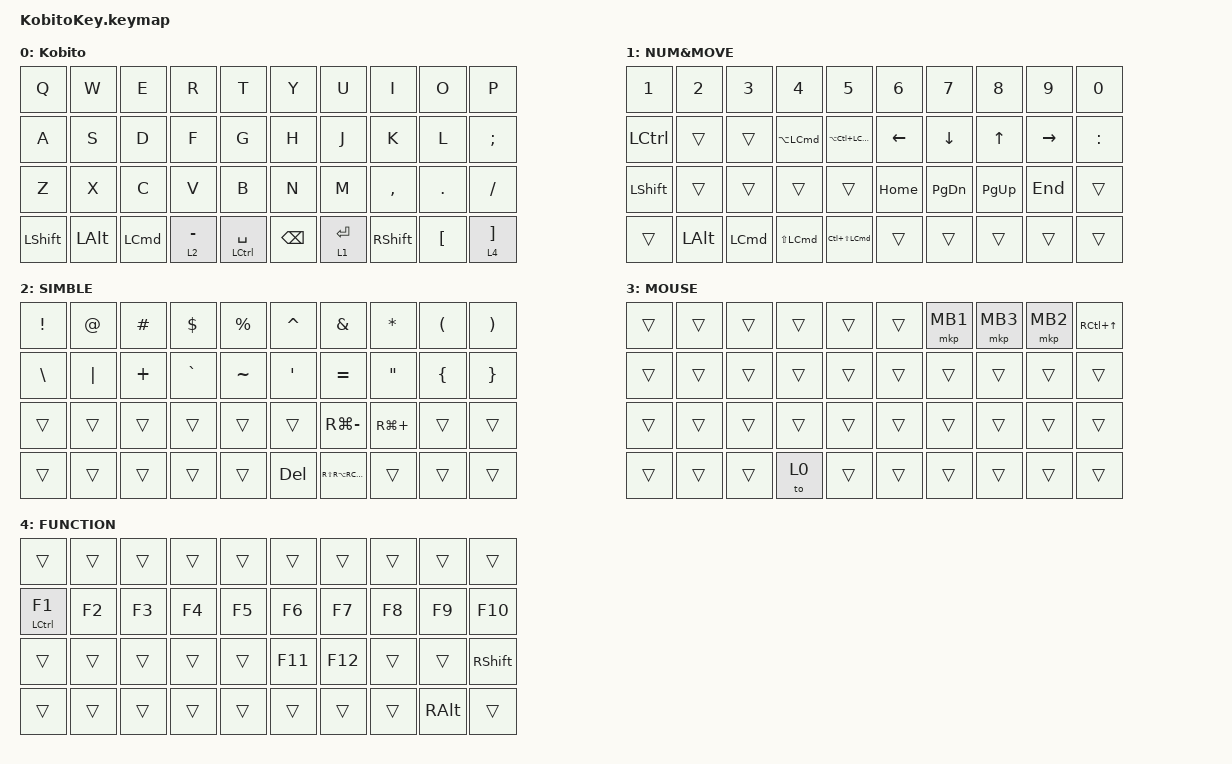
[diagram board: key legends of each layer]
#include <input/processors.dtsi>
#include <behaviors.dtsi>
#include <dt-bindings/zmk/keys.h>
#include <dt-bindings/zmk/pointing.h>

/ {
    behaviors {
        esc_lang2: behavior_macro {
            compatible = "zmk,behavior-macro";
            label = "ESC_LANG2";
            #binding-cells = <0>;
            bindings = <&kp ESC &kp LANG2>;
        };
    };

    combos {
        compatible = "zmk,combos";

        combo_eisu {
            timeout-ms = <50>;
            key-positions = <12 13>;
            bindings = <&kp LANG2>;
        };

        combo_kana {
            timeout-ms = <50>;
            key-positions = <16 17>;
            bindings = <&kp LANG1>;
        };

        combo_esc {
            timeout-ms = <50>;
            key-positions = <0 1>;
            bindings = <&esc_lang2>;
        };

        combo_tab {
            timeout-ms = <50>;
            key-positions = <10 11>;
            bindings = <&kp TAB>;
        };

        combo_raycast {
            bindings = <&kp LG(SPACE)>;
            key-positions = <33 36>;
            timeout-ms = <50>;
        };

        combo_aqua {
            bindings = <&kp LS(LA(LC(LEFT_GUI)))>;
            key-positions = <25 26>;
        };

        combo_hyper {
            bindings = <&kp RS(RA(RC(RIGHT_GUI)))>;
            key-positions = <15 16>;
        };

        combo_comctl {
            bindings = <&kp RC(RIGHT_GUI)>;
            key-positions = <5 6>;
        };
    };

    macros {
    };

    keymap {
        compatible = "zmk,keymap";

        default_layer {
            label = "Kobito";
            bindings = <
&kp Q           &kp W     &kp E     &kp R        &kp T                   &kp Y          &kp U        &kp I            &kp O             &kp P
&kp A           &kp S     &kp D     &kp F        &kp G                   &kp H          &kp J        &kp K            &kp L             &kp SEMICOLON
&kp Z           &kp X     &kp C     &kp V        &kp B                   &kp N          &kp M        &kp COMMA        &kp DOT           &kp SLASH
&kp LEFT_SHIFT  &kp LALT  &kp LCMD  &lt 2 MINUS  &mt LEFT_CONTROL SPACE  &kp BACKSPACE  &lt 1 ENTER  &kp RIGHT_SHIFT  &kp LEFT_BRACKET  &lt 4 RIGHT_BRACKET
            >;
        };

        layer1 {
            label = "NUM&MOVE";
            bindings = <
&kp NUMBER_1      &kp NUMBER_2  &kp NUMBER_3  &kp NUMBER_4  &kp NUMBER_5      &kp NUMBER_6  &kp NUMBER_7    &kp NUMBER_8  &kp NUMBER_9  &kp NUMBER_0
&kp LEFT_CONTROL  &trans        &trans        &kp LA(LCMD)  &kp LA(LC(LCMD))  &kp LEFT      &kp DOWN_ARROW  &kp UP_ARROW  &kp RIGHT     &kp COLON
&kp LEFT_SHIFT    &trans        &trans        &trans        &trans            &kp HOME      &kp PAGE_DOWN   &kp PAGE_UP   &kp END       &trans
&trans            &kp LALT      &kp LCMD      &kp LS(LCMD)  &kp LC(LS(LCMD))  &trans        &trans          &trans        &trans        &trans
            >;
        };

        layer2 {
            label = "SIMBLE";
            bindings = <
&kp EXCLAMATION  &kp AT    &kp POUND  &kp DOLLAR  &kp PERCENT  &kp CARET       &kp AMPERSAND                  &kp ASTRK          &kp LEFT_PARENTHESIS  &kp RIGHT_PARENTHESIS
&kp BACKSLASH    &kp PIPE  &kp PLUS   &kp GRAVE   &kp TILDE    &kp APOSTROPHE  &kp EQUAL                      &kp DOUBLE_QUOTES  &kp LEFT_BRACE        &kp RIGHT_BRACE
&trans           &trans    &trans     &trans      &trans       &trans          &kp RG(MINUS)                  &kp RG(PLUS)       &trans                &trans
&trans           &trans    &trans     &trans      &trans       &kp DELETE      &kp RS(RA(RC(RIGHT_COMMAND)))  &trans             &trans                &trans
            >;
        };

        layer3 {
            label = "MOUSE";
            bindings = <
&trans  &trans  &trans  &trans  &trans  &trans  &mkp MB1  &mkp MB3  &mkp MB2  &kp RC(UP_ARROW)
&trans  &trans  &trans  &trans  &trans  &trans  &trans    &trans    &trans    &trans
&trans  &trans  &trans  &trans  &trans  &trans  &trans    &trans    &trans    &trans
&trans  &trans  &trans  &to 0   &trans  &trans  &trans    &trans    &trans    &trans
            >;
        };

        layer4 {
            label = "FUNCTION";
            bindings = <
&trans               &trans  &trans  &trans  &trans  &trans   &trans   &trans  &trans         &trans
&mt LEFT_CONTROL F1  &kp F2  &kp F3  &kp F4  &kp F5  &kp F6   &kp F7   &kp F8  &kp F9         &kp F10
&trans               &trans  &trans  &trans  &trans  &kp F11  &kp F12  &trans  &trans         &kp RIGHT_SHIFT
&trans               &trans  &trans  &trans  &trans  &trans   &trans   &trans  &kp RIGHT_ALT  &trans
            >;
        };
    };
};
